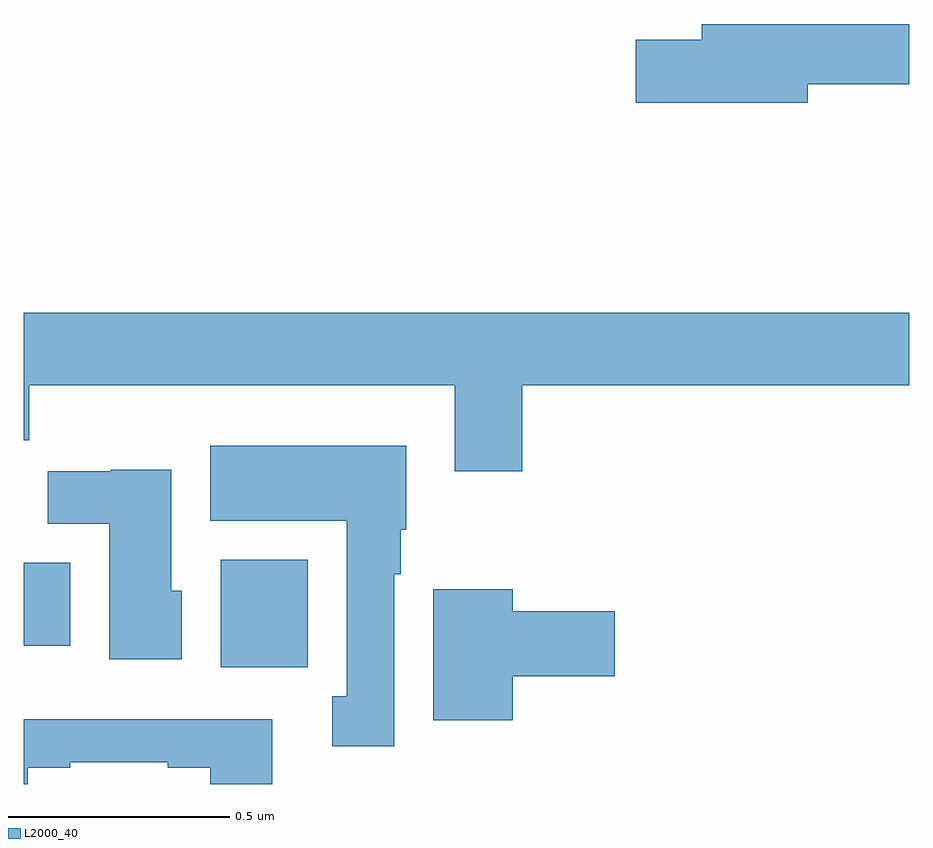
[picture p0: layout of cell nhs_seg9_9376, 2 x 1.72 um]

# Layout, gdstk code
import gdstk
lib = gdstk.Library(unit=1e-6, precision=1e-09)
def R(c, l, rs):  # rectangles x0, y0, x1, y1
    for r in rs: c.add(gdstk.rectangle(r[:2], r[2:], *l))
def P(c, l, *ps):  # polygons
    for p in ps: c.add(gdstk.Polygon(p, *l))
L2000_40 = (2000, 40)

nhs_seg9_9376 = lib.new_cell('nhs_seg9_9376')
R(nhs_seg9_9376, L2000_40, [(229.445,1215.764,229.642,1216.006), (229,1215.812,229.105,1216)])
P(nhs_seg9_9376, L2000_40, [(230.77,1217.08),(231,1217.08),(231,1217.216),(230.531,1217.216),(230.531,1217.18),(230.382,1217.18),(230.382,1217.038),(230.77,1217.038)],
  [(230.126,1216.4),(231,1216.4),(231,1216.564),(229,1216.564),(229,1216.276),(229.013,1216.276),(229.013,1216.4),(229.973,1216.4),(229.973,1216.206),(230.126,1216.206)],
  [(229.837,1215.974),(229.852,1215.974),(229.852,1216.074),(229.864,1216.074),(229.864,1216.264),(229.421,1216.264),(229.421,1216.094),(229.73,1216.094),(229.73,1215.698),(229.697,1215.698),(229.697,1215.585),(229.837,1215.585)],
  [(229.357,1215.936),(229.333,1215.936),(229.333,1216.21),(229.197,1216.21),(229.197,1216.206),(229.054,1216.206),(229.054,1216.088),(229.193,1216.088),(229.193,1215.782),(229.357,1215.782)],
  [(230.104,1215.743),(230.335,1215.743),(230.335,1215.89),(230.104,1215.89),(230.104,1215.94),(229.925,1215.94),(229.925,1215.644),(230.104,1215.644)],
  [(229.009,1215.537),(229.105,1215.537),(229.105,1215.549),(229.325,1215.549),(229.325,1215.537),(229.421,1215.537),(229.421,1215.5),(229.561,1215.5),(229.561,1215.646),(229,1215.646),(229,1215.5),(229.009,1215.5)])

lib.write_gds('nhs_seg9_9376.gds')
